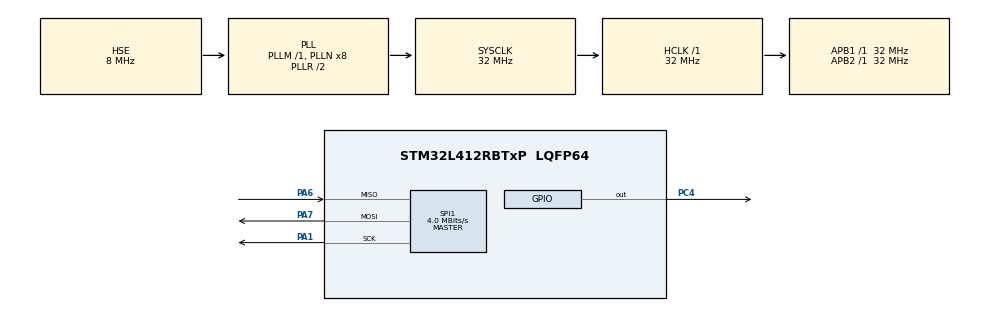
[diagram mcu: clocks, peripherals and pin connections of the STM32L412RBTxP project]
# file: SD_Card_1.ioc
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FATFS._MAX_SS=4096
FATFS._USE_LFN=1
Mcu.Family=STM32L4
Mcu.Name=STM32L412RBTxP
Mcu.Package=LQFP64
NVIC.PriorityGroup=NVIC_PRIORITYGROUP_4
PA1.Mode=Full_Duplex_Master
PA1.Signal=SPI1_SCK
PA13\ (JTMS/SWDIO).Mode=Serial_Wire
PA13\ (JTMS/SWDIO).Signal=SYS_JTMS-SWDIO
PA14\ (JTCK/SWCLK).Mode=Serial_Wire
PA14\ (JTCK/SWCLK).Signal=SYS_JTCK-SWCLK
PA6.Mode=Full_Duplex_Master
PA6.Signal=SPI1_MISO
PA7.Mode=Full_Duplex_Master
PA7.Signal=SPI1_MOSI
PC4.Signal=GPIO_Output
PH0-OSC_IN\ (PH0).Mode=HSE-External-Oscillator
PH0-OSC_IN\ (PH0).Signal=RCC_OSC_IN
PH1-OSC_OUT\ (PH1).Mode=HSE-External-Oscillator
PH1-OSC_OUT\ (PH1).Signal=RCC_OSC_OUT
ProjectManager.HeapSize=0x200
ProjectManager.StackSize=0x400
ProjectManager.TargetToolchain=STM32CubeIDE
RCC.ADCFreq_Value=32000000
RCC.AHBFreq_Value=32000000
RCC.APB1Freq_Value=32000000
RCC.APB1TimFreq_Value=32000000
RCC.APB2Freq_Value=32000000
RCC.APB2TimFreq_Value=32000000
RCC.CortexFreq_Value=32000000
RCC.HCLKFreq_Value=32000000
RCC.HSE_VALUE=8000000
RCC.HSI48_VALUE=48000000
RCC.HSI_VALUE=16000000
RCC.LSE_VALUE=32768
RCC.MSI_VALUE=4000000
RCC.PLLSourceVirtual=RCC_PLLSOURCE_HSE
RCC.SYSCLKFreq_VALUE=32000000
RCC.SYSCLKSource=RCC_SYSCLKSOURCE_PLLCLK
RCC.USBFreq_Value=4000000
RCC.VCOOutputFreq_Value=64000000
SPI1.BaudRatePrescaler=SPI_BAUDRATEPRESCALER_8
SPI1.CalculateBaudRate=4.0 MBits/s
SPI1.Direction=SPI_DIRECTION_2LINES
SPI1.Mode=SPI_MODE_MASTER
SPI1.VirtualType=VM_MASTER
VP_FATFS_VS_Generic.Mode=User_defined
board=custom

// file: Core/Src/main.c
/* USER CODE BEGIN Header */
/**
  ******************************************************************************
  * @file           : main.c
  * @brief          : Main program body
  ******************************************************************************
  * @attention
  *
  * Copyright (c) 2023 STMicroelectronics.
  * All rights reserved.
  *
  * This software is licensed under terms that can be found in the LICENSE file
  * in the root directory of this software component.
  * If no LICENSE file comes with this software, it is provided AS-IS.
  *
  ******************************************************************************
  */
/* USER CODE END Header */
#include "main.h"
#include "stm32l4xx_hal.h"
#include "fatfs.h"

SPI_HandleTypeDef hspi1;

/* USER CODE BEGIN PV */
FATFS fs;
FATFS *pfs;
FIL fil;
FRESULT fres;
DWORD fre_clust;
uint32_t total;
uint32_t available_space;
char buffer[100];

/* USER CODE END PV */

void SystemClock_Config(void);
static void MX_GPIO_Init(void);
static void MX_SPI1_Init(void);
void _Error_Handler(char *, int);

int main(void)
{

  /* MCU Configuration--------------------------------------------------------*/

  /* Reset of all peripherals, Initializes the Flash interface and the Systick. */
  HAL_Init();

  /* Configure the system clock */
  SystemClock_Config();

  /* Initialize all configured peripherals */
  MX_GPIO_Init();
  MX_SPI1_Init();
  MX_FATFS_Init();
  /* USER CODE BEGIN 2 */
  /* Mount SD Card */
    if(f_mount(&fs, "", 0) != FR_OK)
      _Error_Handler(__FILE__, __LINE__);

    /* Open file to write */
    if(f_open(&fil, "first.txt", FA_OPEN_ALWAYS | FA_READ | FA_WRITE) != FR_OK)
      _Error_Handler(__FILE__, __LINE__);

    /* Check free space */
    if(f_getfree("", &fre_clust, &pfs) != FR_OK)
      _Error_Handler(__FILE__, __LINE__);

    total = (uint32_t)((pfs->n_fatent - 2) * pfs->csize * 0.5);
    available_space=(uint32_t)((fre_clust) * (pfs->csize) * 0.5);
    /* Free space is less than 1kb */
      if(available_space < 1)
        _Error_Handler(__FILE__, __LINE__);

      /* Writing text */
      f_puts("STM32 SD Card I/O Example via SPI\n", &fil);
      f_puts("Save the world!!!", &fil);

      /* Close file */
      if(f_close(&fil) != FR_OK)
        _Error_Handler(__FILE__, __LINE__);

      /* Open file to read */
      if(f_open(&fil, "first.txt", FA_READ) != FR_OK)
        _Error_Handler(__FILE__, __LINE__);

      while(f_gets(buffer, sizeof(buffer), &fil))
      {
        //printf("%s", buffer);
      }

        /* Close file */
        if(f_close(&fil) != FR_OK)
          _Error_Handler(__FILE__, __LINE__);

        /* Unmount SDCARD */
        if(f_mount(NULL, "", 1) != FR_OK)
          _Error_Handler(__FILE__, __LINE__);

  /* USER CODE END 2 */

  /* Infinite loop */
  while (1)
  {

  }
}

void SystemClock_Config(void)
{
  RCC_OscInitTypeDef RCC_OscInitStruct = {0};
  RCC_ClkInitTypeDef RCC_ClkInitStruct = {0};

  /** Configure the main internal regulator output voltage
  */
  if (HAL_PWREx_ControlVoltageScaling(PWR_REGULATOR_VOLTAGE_SCALE1) != HAL_OK)
  {
    Error_Handler();
  }

  /** Initializes the RCC Oscillators according to the specified parameters
  * in the RCC_OscInitTypeDef structure.
  */
  RCC_OscInitStruct.OscillatorType = RCC_OSCILLATORTYPE_HSE;
  RCC_OscInitStruct.HSEState = RCC_HSE_ON;
  RCC_OscInitStruct.PLL.PLLState = RCC_PLL_ON;
  RCC_OscInitStruct.PLL.PLLSource = RCC_PLLSOURCE_HSE;
  RCC_OscInitStruct.PLL.PLLM = 1;
  RCC_OscInitStruct.PLL.PLLN = 8;
  RCC_OscInitStruct.PLL.PLLQ = RCC_PLLQ_DIV2;
  RCC_OscInitStruct.PLL.PLLR = RCC_PLLR_DIV2;
  if (HAL_RCC_OscConfig(&RCC_OscInitStruct) != HAL_OK)
  {
    Error_Handler();
  }

  /** Initializes the CPU, AHB and APB buses clocks
  */
  RCC_ClkInitStruct.ClockType = RCC_CLOCKTYPE_HCLK|RCC_CLOCKTYPE_SYSCLK
                              |RCC_CLOCKTYPE_PCLK1|RCC_CLOCKTYPE_PCLK2;
  RCC_ClkInitStruct.SYSCLKSource = RCC_SYSCLKSOURCE_PLLCLK;
  RCC_ClkInitStruct.AHBCLKDivider = RCC_SYSCLK_DIV1;
  RCC_ClkInitStruct.APB1CLKDivider = RCC_HCLK_DIV1;
  RCC_ClkInitStruct.APB2CLKDivider = RCC_HCLK_DIV1;

  if (HAL_RCC_ClockConfig(&RCC_ClkInitStruct, FLASH_LATENCY_1) != HAL_OK)
  {
    Error_Handler();
  }
}

static void MX_SPI1_Init(void)
{

  /* SPI1 parameter configuration*/
  hspi1.Instance = SPI1;
  hspi1.Init.Mode = SPI_MODE_MASTER;
  hspi1.Init.Direction = SPI_DIRECTION_2LINES;
  hspi1.Init.DataSize = SPI_DATASIZE_4BIT;
  hspi1.Init.CLKPolarity = SPI_POLARITY_LOW;
  hspi1.Init.CLKPhase = SPI_PHASE_1EDGE;
  hspi1.Init.NSS = SPI_NSS_SOFT;
  hspi1.Init.BaudRatePrescaler = SPI_BAUDRATEPRESCALER_8;
  hspi1.Init.FirstBit = SPI_FIRSTBIT_MSB;
  hspi1.Init.TIMode = SPI_TIMODE_DISABLE;
  hspi1.Init.CRCCalculation = SPI_CRCCALCULATION_DISABLE;
  hspi1.Init.CRCPolynomial = 7;
  hspi1.Init.CRCLength = SPI_CRC_LENGTH_DATASIZE;
  hspi1.Init.NSSPMode = SPI_NSS_PULSE_ENABLE;
  if (HAL_SPI_Init(&hspi1) != HAL_OK)
  {
    Error_Handler();
  }

}

static void MX_GPIO_Init(void)
{
  GPIO_InitTypeDef GPIO_InitStruct = {0};

  /* GPIO Ports Clock Enable */
  __HAL_RCC_GPIOH_CLK_ENABLE();
  __HAL_RCC_GPIOA_CLK_ENABLE();
  __HAL_RCC_GPIOC_CLK_ENABLE();

  /*Configure GPIO pin Output Level */
  HAL_GPIO_WritePin(GPIOC, GPIO_PIN_4, GPIO_PIN_RESET);

  /*Configure GPIO pin : PC4 */
  GPIO_InitStruct.Pin = GPIO_PIN_4;
  GPIO_InitStruct.Mode = GPIO_MODE_OUTPUT_PP;
  GPIO_InitStruct.Pull = GPIO_NOPULL;
  GPIO_InitStruct.Speed = GPIO_SPEED_FREQ_LOW;
  HAL_GPIO_Init(GPIOC, &GPIO_InitStruct);

}

/* USER CODE BEGIN 4 */
void _Error_Handler(char *file, int line) {
    // Log the error message

    // You can add more error-handling actions here if needed
    // For example, you might want to log the error to a file,
    // blink an LED, or reset the microcontroller.

    // Halt the program
    Error_Handler();
}
/* USER CODE END 4 */

void Error_Handler(void)
{
  __disable_irq();
  while (1)
  {
  }
}
